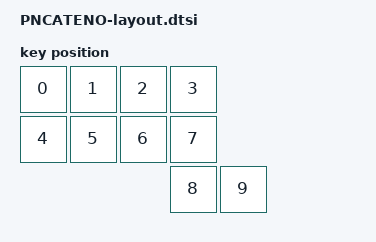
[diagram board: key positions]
#include <physical_layouts.dtsi>

/ {
    PNCATENO_layout: PNCATENO_layout_0 {
        compatible = "zmk,physical-layout";
        display-name = "Default";
        kscan = <&kscan0>;
        transform = <&default_transform>;

        keys  //                     w   h    x    y     rot    rx    ry
            = <&key_physical_attrs 100 100    0    0       0     0     0>
            , <&key_physical_attrs 100 100  100    0       0     0     0>
            , <&key_physical_attrs 100 100  200    0       0     0     0>
            , <&key_physical_attrs 100 100  300    0       0     0     0>
            , <&key_physical_attrs 100 100    0  100       0     0     0>
            , <&key_physical_attrs 100 100  100  100       0     0     0>
            , <&key_physical_attrs 100 100  200  100       0     0     0>
            , <&key_physical_attrs 100 100  300  100       0     0     0>
            , <&key_physical_attrs 100 100  300  200       0     0     0>
            , <&key_physical_attrs 100 100  400  200       0     0     0>
            ;
    };


    pncateno_position_map {
        compatible = "zmk,physical-layout-position-map";
        complete;
        origin {
            physical-layout = <&PNCATENO_layout>;
            positions =
            < 0 1 2 3 >,
            < 4 5 6 7 >,
            < 8 9 >;
        };

    };
};

